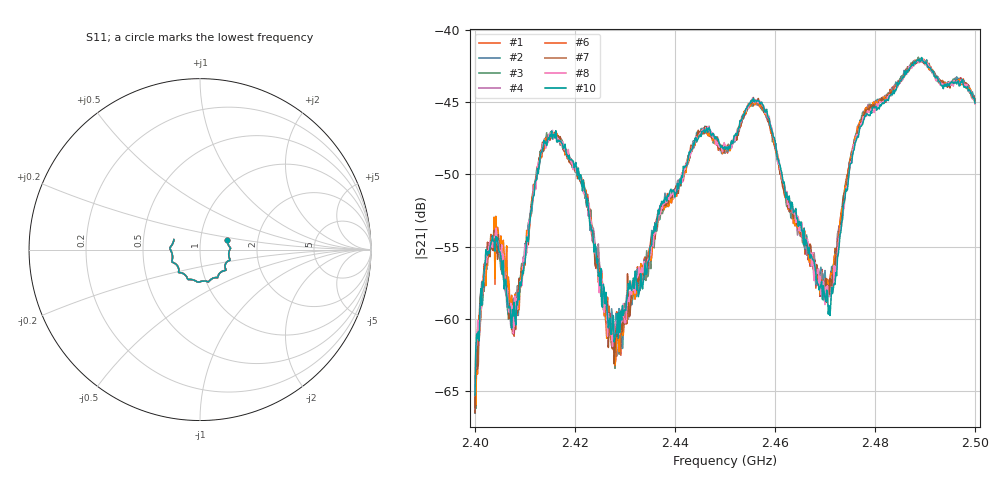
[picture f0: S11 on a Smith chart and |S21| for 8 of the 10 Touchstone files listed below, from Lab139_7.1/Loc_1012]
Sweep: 2.4 GHz to 2.5 GHz
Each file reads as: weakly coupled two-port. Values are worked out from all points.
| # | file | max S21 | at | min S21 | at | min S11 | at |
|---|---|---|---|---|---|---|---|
| 1 | Lab_139_1Ch1.s2p | -41.98 dB | 2.4887 GHz | -66.2 dB | 2.4 GHz | -15.8 dB | 2.4992 GHz |
| 2 | Lab_139_2Ch1.s2p | -41.94 dB | 2.489 GHz | -66.5 dB | 2.4 GHz | -15.8 dB | 2.499 GHz |
| 3 | Lab_139_3Ch1.s2p | -41.87 dB | 2.4887 GHz | -66.2 dB | 2.4002 GHz | -15.8 dB | 2.4993 GHz |
| 4 | Lab_139_4Ch1.s2p | -42.02 dB | 2.4887 GHz | -65.6 dB | 2.4 GHz | -15.8 dB | 2.4993 GHz |
| 5 | Lab_139_5Ch1.s2p | -42.02 dB | 2.4897 GHz | -64.8 dB | 2.4 GHz | -15.8 dB | 2.4993 GHz |
| 6 | Lab_139_6Ch1.s2p | -42.02 dB | 2.4898 GHz | -66.0 dB | 2.4002 GHz | -15.8 dB | 2.4993 GHz |
| 7 | Lab_139_7Ch1.s2p | -41.97 dB | 2.4895 GHz | -66.5 dB | 2.4 GHz | -15.8 dB | 2.4993 GHz |
| 8 | Lab_139_8Ch1.s2p | -42.00 dB | 2.4897 GHz | -65.3 dB | 2.4 GHz | -15.8 dB | 2.499 GHz |
| 9 | Lab_139_9Ch1.s2p | -42.08 dB | 2.4892 GHz | -63.7 dB | 2.4 GHz | -15.8 dB | 2.499 GHz |
| 10 | Lab_139_10Ch1.s2p | -41.89 dB | 2.4893 GHz | -65.3 dB | 2.4 GHz | -15.8 dB | 2.4993 GHz |
